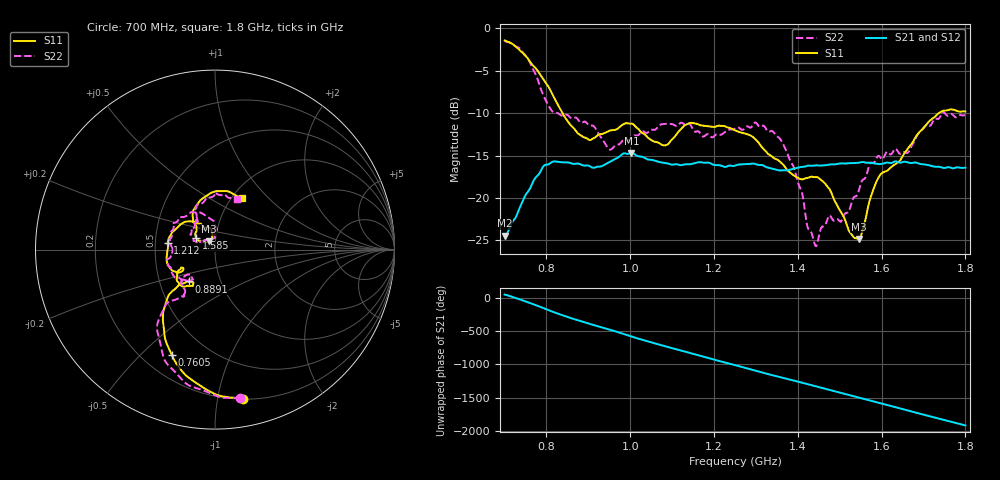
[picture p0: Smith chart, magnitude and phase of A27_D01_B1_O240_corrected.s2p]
! Created with skrf 1.9.0 (http://scikit-rf.org).
# Hz S RI R 50.0
!freq ReS11 ImS11 ReS21 ImS21 ReS12 ImS12 ReS22 ImS22
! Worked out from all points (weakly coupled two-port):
!   1601 points, 700 MHz to 1.8 GHz, reference 50 ohm
!   highest |S21| = -14.70 dB at 1.002 GHz (marker M1); lowest = -24.4 dB at 700 MHz (marker M2)
!   lowest |S11| = -24.8 dB at 1.546 GHz (marker M3), VSWR 1.12, Z = 46.4 + j4.22 ohm
!   |S11| at or under -10 dB: 838.2 MHz to 1.737 GHz (898.4 MHz wide, 69.8 % of centre)
!   |S22| runs from -25.7 to -1.5 dB; largest |S21 - S12| = 0.0037
!   S11 on the Smith chart (normalised r, x): 700 MHz: 0.20, -1.19; 760.5 MHz: 0.32, -0.62; 889.1 MHz: 0.71, -0.26; 1.212 GHz: 0.58, +0.05; 1.585 GHz: 0.81, +0.10; 1.8 GHz: 1.12, +0.71
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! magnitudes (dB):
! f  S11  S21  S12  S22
! 700 MHz  -1.5  -24.4  -24.2  -1.5
! 760.5 MHz  -3.9  -18.9  -18.8  -4.0
! 812.1 MHz  -7.6  -15.8  -15.8  -9.7
! 883.6 MHz  -12.7  -16.1  -16.0  -11.1
! 889.1 MHz  -12.8  -16.2  -16.1  -11.0
! 950.9 MHz  -12.1  -15.7  -15.7  -14.3
! 1.002 GHz  -11.2  -14.7  -14.8  -12.9
! 1.067 GHz  -13.5  -15.7  -15.7  -11.6
! 1.212 GHz  -11.5  -16.1  -16.1  -12.5
! 1.25 GHz  -12.0  -16.2  -16.1  -11.8
! 1.359 GHz  -15.8  -16.8  -16.7  -13.1
! 1.392 GHz  -17.4  -16.5  -16.5  -16.6
! 1.434 GHz  -17.5  -16.2  -16.2  -24.2
! 1.444 GHz  -17.5  -16.2  -16.2  -25.7
! 1.474 GHz  -18.8  -16.1  -16.1  -22.1
! 1.504 GHz  -21.7  -15.9  -15.9  -22.7
! 1.546 GHz  -24.8  -15.8  -15.8  -19.1
! 1.585 GHz  -18.3  -16.0  -16.0  -15.6
! 1.617 GHz  -16.6  -15.9  -15.8  -14.7
! 1.663 GHz  -14.2  -15.8  -15.8  -14.7
! 1.737 GHz  -10.0  -16.3  -16.4  -10.6
! 1.8 GHz  -9.8  -16.4  -16.4  -10.2
